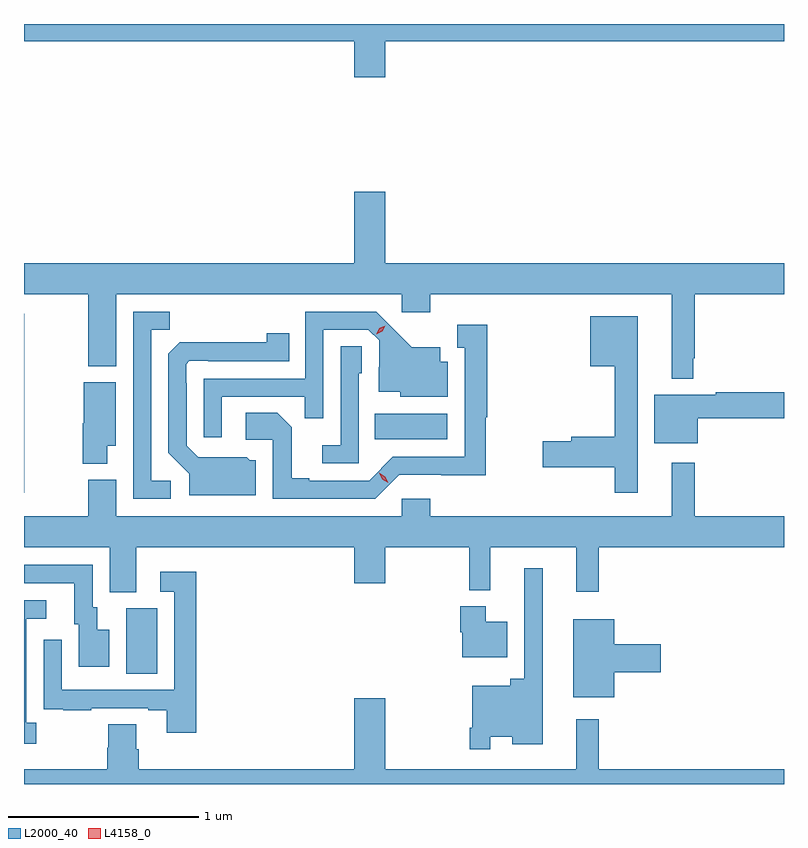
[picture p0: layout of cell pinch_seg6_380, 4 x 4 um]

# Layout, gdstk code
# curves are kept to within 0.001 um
import gdstk
lib = gdstk.Library(unit=1e-6, precision=1e-09)
def R(c, l, rs):  # rectangles x0, y0, x1, y1
    for r in rs: c.add(gdstk.rectangle(r[:2], r[2:], *l))
def P(c, l, *ps):  # polygons
    for p in ps: c.add(gdstk.Polygon(p, *l))
L2000_40 = (2000, 40)
L4158_0 = (4158, 0)

pinch_seg6_380 = lib.new_cell('pinch_seg6_380')
R(pinch_seg6_380, L2000_40, [(643.328,928.024,643.492,928.368), (642.791,928.977,642.792,929.917), (644.638,929.258,645.019,929.392)])
P(pinch_seg6_380, L2000_40, [(644.692,931.352),(646.791,931.352),(646.791,931.443),(642.791,931.443),(642.791,931.352),(644.528,931.352),(644.528,931.164),(644.692,931.164)],
  [(646.314,929.683),(646.321,929.683),(646.321,930.02),(646.791,930.02),(646.791,930.184),(644.692,930.184),(644.692,930.559),(644.528,930.559),(644.528,930.184),(642.791,930.184),(642.791,930.02),(643.129,930.02),(643.129,929.642),(643.276,929.642),(643.276,930.02),(644.778,930.02),(644.778,929.925),(644.93,929.925),(644.93,930.02),(646.199,930.02),(646.199,929.576),(646.314,929.576)],
  [(643.564,929.04),(643.461,929.04),(643.461,929.833),(643.557,929.833),(643.557,929.928),(643.365,929.928),(643.365,928.944),(643.564,928.944)],
  [(643.833,929.481),(644.269,929.481),(644.269,929.368),(644.367,929.368),(644.367,929.835),(644.604,929.835),(644.661,929.778),(644.661,929.636),(644.657,929.636),(644.657,929.507),(644.772,929.507),(644.772,929.48),(645.022,929.48),(645.022,929.665),(644.983,929.665),(644.983,929.743),(644.831,929.743),(644.644,929.928),(644.271,929.928),(644.271,929.577),(643.737,929.577),(643.737,929.268),(643.833,929.268)],
  [(646.021,929.905),(645.77,929.905),(645.77,929.642),(645.9,929.642),(645.9,929.271),(645.671,929.271),(645.671,929.246),(645.522,929.246),(645.522,929.111),(645.9,929.111),(645.9,928.977),(646.021,928.977)],
  [(644.766,929.07),(645.221,929.069),(645.221,929.373),(645.229,929.373),(645.229,929.86),(645.071,929.86),(645.071,929.739),(645.11,929.739),(645.11,929.166),(644.733,929.166),(644.607,929.04),(644.293,929.04),(644.293,929.053),(644.199,929.053),(644.199,929.32),(644.123,929.396),(643.959,929.396),(643.959,929.256),(644.1,929.256),(644.1,928.944),(644.64,928.944)],
  [(644.011,929.148),(643.98,929.148),(643.964,929.164),(643.707,929.163),(643.647,929.223),(643.647,929.552),(643.644,929.552),(643.644,929.652),(643.662,929.67),(643.762,929.67),(643.762,929.667),(644.186,929.667),(644.186,929.815),(644.068,929.815),(644.068,929.768),(643.61,929.767),(643.551,929.708),(643.551,929.186),(643.661,929.076),(643.661,928.964),(644.011,928.964)],
  [(644.553,929.604),(644.568,929.604),(644.568,929.747),(644.457,929.747),(644.457,929.227),(644.361,929.227),(644.361,929.13),(644.553,929.13)],
  [(643.228,929.222),(643.273,929.222),(643.273,929.557),(643.106,929.557),(643.106,929.343),(643.099,929.343),(643.099,929.129),(643.228,929.129)],
  [(646.336,929.368),(646.791,929.368),(646.791,929.504),(646.432,929.504),(646.432,929.491),(646.109,929.491),(646.109,929.237),(646.336,929.237)],
  [(643.381,928.688),(644.528,928.688),(644.528,928.5),(644.692,928.5),(644.692,928.688),(645.135,928.688),(645.135,928.463),(645.245,928.463),(645.245,928.688),(645.698,928.688),(645.698,928.455),(645.815,928.455),(645.815,928.688),(646.791,928.688),(646.791,928.852),(646.321,928.852),(646.321,929.134),(646.199,929.134),(646.199,928.852),(644.93,928.852),(644.93,928.945),(644.778,928.945),(644.778,928.852),(643.276,928.852),(643.276,929.044),(643.129,929.044),(643.129,928.852),(642.791,928.852),(642.791,928.688),(643.241,928.688),(643.241,928.453),(643.381,928.453)],
  [(643.24,928.255),(643.177,928.255),(643.177,928.374),(643.152,928.374),(643.152,928.596),(642.791,928.596),(642.791,928.5),(643.055,928.5),(643.055,928.284),(643.079,928.284),(643.079,928.059),(643.24,928.059)],
  [(645.246,927.692),(645.362,927.692),(645.362,927.653),(645.52,927.653),(645.52,928.579),(645.423,928.579),(645.423,927.997),(645.35,927.997),(645.35,927.961),(645.15,927.961),(645.15,927.739),(645.138,927.739),(645.138,927.627),(645.246,927.627)],
  [(643.697,928.561),(643.509,928.561),(643.509,928.455),(643.581,928.455),(643.581,927.939),(642.99,927.939),(642.99,928.201),(642.894,928.201),(642.894,927.946),(642.895,927.946),(642.895,927.837),(642.997,927.837),(642.997,927.831),(643.145,927.831),(643.145,927.843),(643.445,927.843),(643.445,927.831),(643.541,927.831),(643.541,927.714),(643.697,927.714)],
  [(642.856,927.766),(642.804,927.766),(642.804,928.314),(642.907,928.314),(642.907,928.41),(642.791,928.41),(642.791,927.656),(642.856,927.656)],
  [(645.334,928.297),(645.22,928.297),(645.22,928.378),(645.086,928.378),(645.086,928.242),(645.098,928.242),(645.098,928.109),(645.334,928.109)],
  [(645.898,928.031),(646.141,928.031),(646.141,928.178),(645.898,928.178),(645.898,928.309),(645.683,928.309),(645.683,927.899),(645.898,927.899)],
  [(646.791,927.52),(645.815,927.52),(645.815,927.784),(645.698,927.784),(645.698,927.52),(644.692,927.52),(644.692,927.895),(644.528,927.895),(644.528,927.52),(643.394,927.52),(643.394,927.626),(643.381,927.626),(643.381,927.758),(643.234,927.758),(643.234,927.633),(643.229,927.633),(643.229,927.52),(642.791,927.52),(642.791,927.443),(646.791,927.443)])
P(pinch_seg6_380, L4158_0, [(644.709,929.028),(644.677,929.047),(644.661,929.08),(644.661,929.08),(644.661,929.08),(644.692,929.061),(644.709,929.028),(644.709,929.028)],
  [(644.645,929.811),(644.645,929.811),(644.662,929.841),(644.692,929.856),(644.692,929.856),(644.692,929.856),(644.676,929.826),(644.645,929.811)])

lib.write_gds('pinch_seg6_380.gds')
